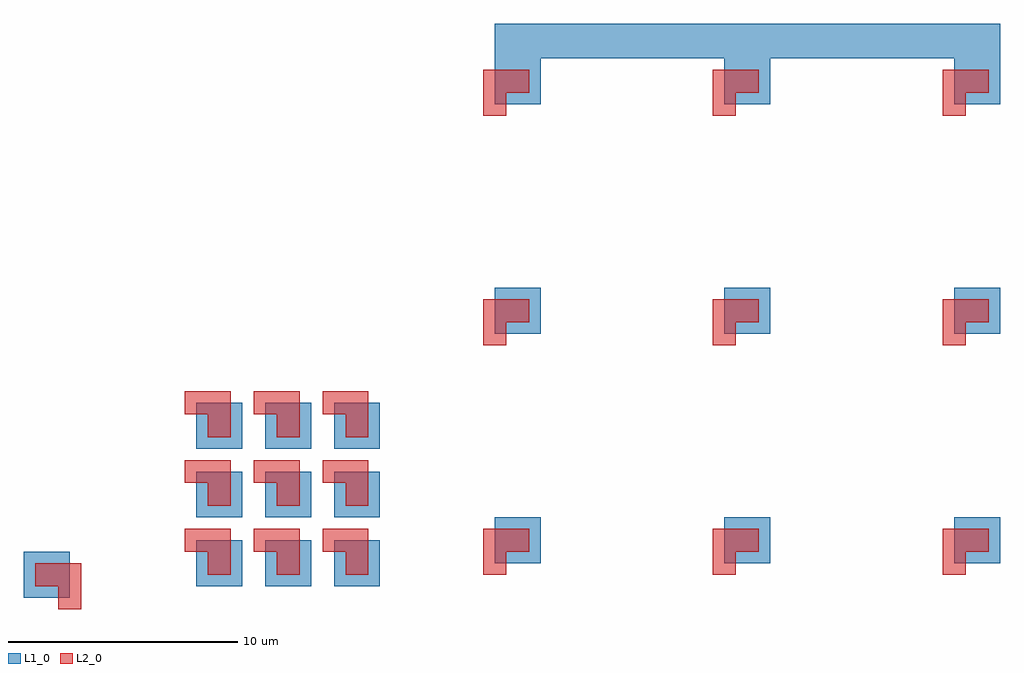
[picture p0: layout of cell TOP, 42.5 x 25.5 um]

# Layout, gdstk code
from math import pi, radians
import gdstk
lib = gdstk.Library(unit=1e-6, precision=1e-09)
def R(c, l, rs):  # rectangles x0, y0, x1, y1
    for r in rs: c.add(gdstk.rectangle(r[:2], r[2:], *l))
L1_0 = (1, 0)
L2_0 = (2, 0)

c_b = lib.new_cell('B')
R(c_b, L1_0, [(-1,-1,1,1)])
R(c_b, L2_0, [(-0.5,-0.5,0.5,0.5), (0.5,-0.5,1.5,1.5)])

top = lib.new_cell('TOP')
R(top, L1_0, [(22,25,44,26.5)])
top.add(gdstk.Reference(c_b, (2.5,2.5), x_reflection=True))
r = gdstk.Reference(c_b, (16,3), rotation=pi/2); r.repetition = gdstk.Repetition(3, 3, v1=(0,3), v2=(-3,0)); top.add(r)
r = gdstk.Reference(c_b, (43,24), rotation=pi); r.repetition = gdstk.Repetition(3, 3, v1=(-10,0), v2=(0,-10)); top.add(r)

lib.write_gds('TOP.gds')
